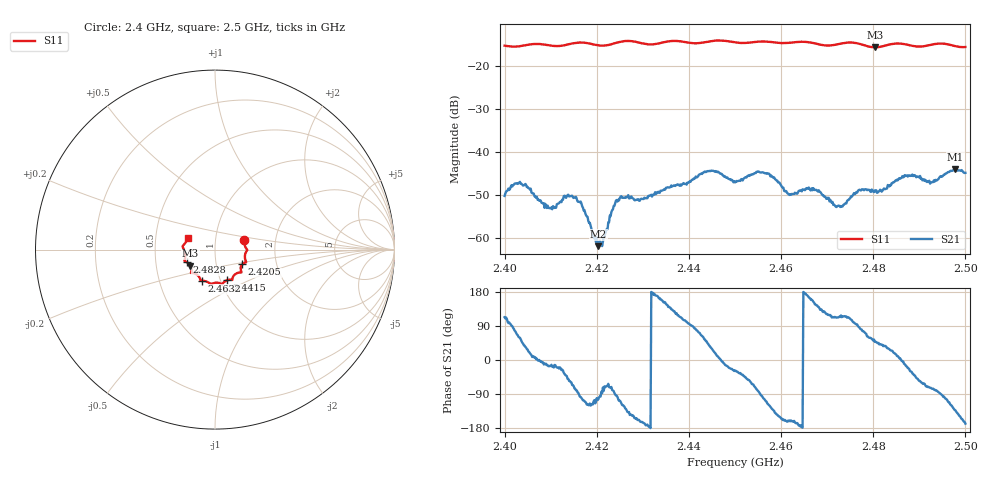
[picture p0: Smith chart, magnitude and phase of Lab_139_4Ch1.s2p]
# Hz S RI R 50
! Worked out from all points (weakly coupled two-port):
!   601 points, 2.4 GHz to 2.5 GHz, reference 50 ohm
!   highest |S21| = -44.03 dB at 2.4978 GHz (marker M1); lowest = -62.0 dB at 2.4203 GHz (marker M2)
!   lowest |S11| = -15.7 dB at 2.4803 GHz (marker M3), VSWR 1.39, Z = 37.3 - j6.84 ohm
!   |S11| at or under -10 dB: start of sweep to end of sweep
!   S12 and S22 are empty: the file has one direction only
!   S11 on the Smith chart (normalised r, x): 2.4 GHz: 1.38, +0.15; 2.4205 GHz: 1.34, -0.23; 2.4415 GHz: 1.07, -0.38; 2.4632 GHz: 0.82, -0.29; 2.4828 GHz: 0.72, -0.10; 2.5 GHz: 0.73, +0.10
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2.4e9  0.1639 0.0518  -0.00119 0.00282  0 0  0 0
2.403167e9  0.1679 0.017  0.00219 0.00372  0 0  0 0
2.4095e9  0.1735 -0.012  0.00213 -0.000624  0 0  0 0
2.413333e9  0.1674 -0.0513  0.00219 -0.00192  0 0  0 0
2.416667e9  0.1732 -0.07  -0.000438 -0.00247  0 0  0 0
2.420333e9  0.153 -0.0809  -0.000187 -0.000775  0 0  0 0
2.4205e9  0.152 -0.082  -0.000126 -0.000831  0 0  0 0
2.424667e9  0.1452 -0.1194  -0.000659 -0.00269  0 0  0 0
2.433333e9  0.1004 -0.1514  -0.00332 0.000818  0 0  0 0
2.4415e9  0.0657 -0.1708  0.000824 0.00509  0 0  0 0
2.445333e9  0.0423 -0.1908  0.00549 0.00238  0 0  0 0
2.45e9  0.024 -0.1861  0.0039 -0.00204  0 0  0 0
2.4555e9  -0.0189 -0.1908  -3.27e-05 -0.00573  0 0  0 0
2.463167e9  -0.0735 -0.1738  -0.0032 -0.000761  0 0  0 0
2.466667e9  -0.082 -0.1667  -0.00351 0.00135  0 0  0 0
2.472333e9  -0.1214 -0.1309  -0.000883 0.00218  0 0  0 0
2.477167e9  -0.1318 -0.1216  0.000454 0.00355  0 0  0 0
2.480333e9  -0.1379 -0.0891  0.00238 0.00263  0 0  0 0
2.482833e9  -0.1587 -0.0699  0.00306 0.00214  0 0  0 0
2.483333e9  -0.1625 -0.068  0.00351 0.00201  0 0  0 0
2.497833e9  -0.1652 0.0373  -0.00428 -0.00461  0 0  0 0
2.5e9  -0.1525 0.0646  -0.00555 -0.0012  0 0  0 0
